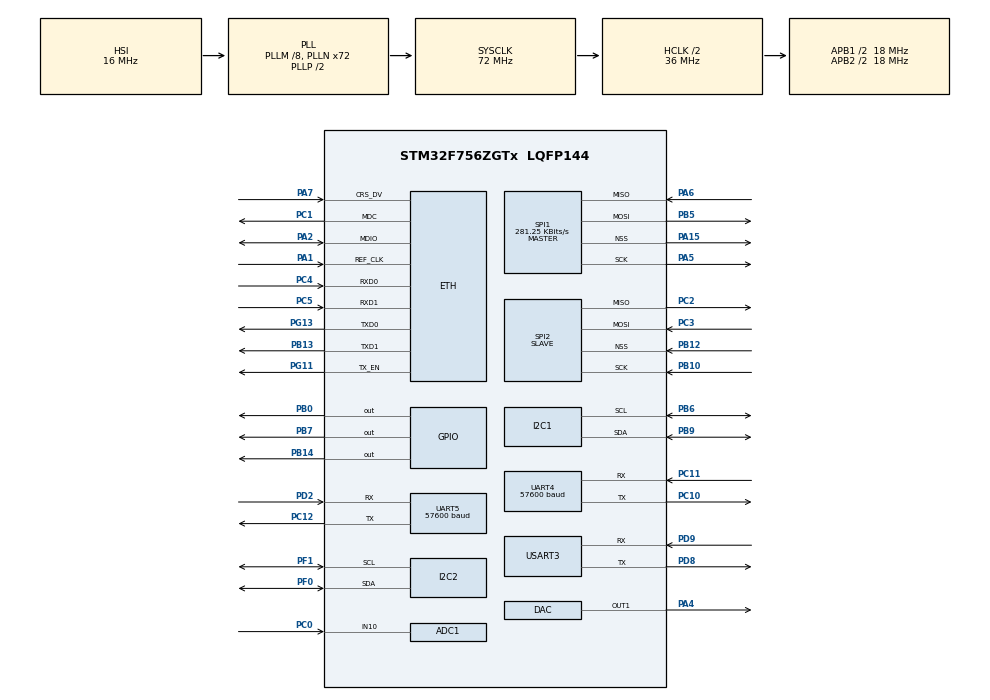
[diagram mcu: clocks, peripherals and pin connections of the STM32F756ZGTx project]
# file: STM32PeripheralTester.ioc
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ADC1.Channel-0\#ChannelRegularConversion=ADC_CHANNEL_10
ADC1.NbrOfConversionFlag=1
ADC1.Rank-0\#ChannelRegularConversion=1
ADC1.SamplingTime-0\#ChannelRegularConversion=ADC_SAMPLETIME_3CYCLES
ADC1.master=1
Dma.I2C1_RX.0.Direction=DMA_PERIPH_TO_MEMORY
Dma.I2C1_RX.0.FIFOMode=DMA_FIFOMODE_DISABLE
Dma.I2C1_RX.0.Instance=DMA1_Stream0
Dma.I2C1_RX.0.MemDataAlignment=DMA_MDATAALIGN_BYTE
Dma.I2C1_RX.0.MemInc=DMA_MINC_ENABLE
Dma.I2C1_RX.0.Mode=DMA_NORMAL
Dma.I2C1_RX.0.PeriphDataAlignment=DMA_PDATAALIGN_BYTE
Dma.I2C1_RX.0.PeriphInc=DMA_PINC_DISABLE
Dma.I2C1_RX.0.Priority=DMA_PRIORITY_LOW
Dma.I2C1_TX.1.Direction=DMA_MEMORY_TO_PERIPH
Dma.I2C1_TX.1.FIFOMode=DMA_FIFOMODE_DISABLE
Dma.I2C1_TX.1.Instance=DMA1_Stream6
Dma.I2C1_TX.1.MemDataAlignment=DMA_MDATAALIGN_BYTE
Dma.I2C1_TX.1.MemInc=DMA_MINC_ENABLE
Dma.I2C1_TX.1.Mode=DMA_NORMAL
Dma.I2C1_TX.1.PeriphDataAlignment=DMA_PDATAALIGN_BYTE
Dma.I2C1_TX.1.PeriphInc=DMA_PINC_DISABLE
Dma.I2C1_TX.1.Priority=DMA_PRIORITY_LOW
Dma.I2C2_RX.2.Direction=DMA_PERIPH_TO_MEMORY
Dma.I2C2_RX.2.FIFOMode=DMA_FIFOMODE_DISABLE
Dma.I2C2_RX.2.Instance=DMA1_Stream2
Dma.I2C2_RX.2.MemDataAlignment=DMA_MDATAALIGN_BYTE
Dma.I2C2_RX.2.MemInc=DMA_MINC_ENABLE
Dma.I2C2_RX.2.Mode=DMA_NORMAL
Dma.I2C2_RX.2.PeriphDataAlignment=DMA_PDATAALIGN_BYTE
Dma.I2C2_RX.2.PeriphInc=DMA_PINC_DISABLE
Dma.I2C2_RX.2.Priority=DMA_PRIORITY_LOW
Dma.I2C2_TX.3.Direction=DMA_MEMORY_TO_PERIPH
Dma.I2C2_TX.3.FIFOMode=DMA_FIFOMODE_DISABLE
Dma.I2C2_TX.3.Instance=DMA1_Stream7
Dma.I2C2_TX.3.MemDataAlignment=DMA_MDATAALIGN_BYTE
Dma.I2C2_TX.3.MemInc=DMA_MINC_ENABLE
Dma.I2C2_TX.3.Mode=DMA_NORMAL
Dma.I2C2_TX.3.PeriphDataAlignment=DMA_PDATAALIGN_BYTE
Dma.I2C2_TX.3.PeriphInc=DMA_PINC_DISABLE
Dma.I2C2_TX.3.Priority=DMA_PRIORITY_LOW
Dma.Request0=I2C1_RX
Dma.Request1=I2C1_TX
Dma.Request2=I2C2_RX
Dma.Request3=I2C2_TX
Dma.Request4=SPI1_RX
Dma.Request5=SPI1_TX
Dma.Request6=SPI2_RX
Dma.Request7=SPI2_TX
Dma.SPI1_RX.4.Direction=DMA_PERIPH_TO_MEMORY
Dma.SPI1_RX.4.FIFOMode=DMA_FIFOMODE_DISABLE
Dma.SPI1_RX.4.Instance=DMA2_Stream0
Dma.SPI1_RX.4.MemDataAlignment=DMA_MDATAALIGN_BYTE
Dma.SPI1_RX.4.MemInc=DMA_MINC_ENABLE
Dma.SPI1_RX.4.Mode=DMA_NORMAL
Dma.SPI1_RX.4.PeriphDataAlignment=DMA_PDATAALIGN_BYTE
Dma.SPI1_RX.4.PeriphInc=DMA_PINC_DISABLE
Dma.SPI1_RX.4.Priority=DMA_PRIORITY_LOW
Dma.SPI1_TX.5.Direction=DMA_MEMORY_TO_PERIPH
Dma.SPI1_TX.5.FIFOMode=DMA_FIFOMODE_DISABLE
Dma.SPI1_TX.5.Instance=DMA2_Stream3
Dma.SPI1_TX.5.MemDataAlignment=DMA_MDATAALIGN_BYTE
Dma.SPI1_TX.5.MemInc=DMA_MINC_ENABLE
Dma.SPI1_TX.5.Mode=DMA_NORMAL
Dma.SPI1_TX.5.PeriphDataAlignment=DMA_PDATAALIGN_BYTE
Dma.SPI1_TX.5.PeriphInc=DMA_PINC_DISABLE
Dma.SPI1_TX.5.Priority=DMA_PRIORITY_LOW
Dma.SPI2_RX.6.Direction=DMA_PERIPH_TO_MEMORY
Dma.SPI2_RX.6.FIFOMode=DMA_FIFOMODE_DISABLE
Dma.SPI2_RX.6.Instance=DMA1_Stream3
Dma.SPI2_RX.6.MemDataAlignment=DMA_MDATAALIGN_BYTE
Dma.SPI2_RX.6.MemInc=DMA_MINC_ENABLE
Dma.SPI2_RX.6.Mode=DMA_NORMAL
Dma.SPI2_RX.6.PeriphDataAlignment=DMA_PDATAALIGN_BYTE
Dma.SPI2_RX.6.PeriphInc=DMA_PINC_DISABLE
Dma.SPI2_RX.6.Priority=DMA_PRIORITY_LOW
Dma.SPI2_TX.7.Direction=DMA_MEMORY_TO_PERIPH
Dma.SPI2_TX.7.FIFOMode=DMA_FIFOMODE_DISABLE
Dma.SPI2_TX.7.Instance=DMA1_Stream4
Dma.SPI2_TX.7.MemDataAlignment=DMA_MDATAALIGN_BYTE
Dma.SPI2_TX.7.MemInc=DMA_MINC_ENABLE
Dma.SPI2_TX.7.Mode=DMA_NORMAL
Dma.SPI2_TX.7.PeriphDataAlignment=DMA_PDATAALIGN_BYTE
Dma.SPI2_TX.7.PeriphInc=DMA_PINC_DISABLE
Dma.SPI2_TX.7.Priority=DMA_PRIORITY_LOW
ETH.MediaInterface=HAL_ETH_RMII_MODE
FREERTOS.Tasks01=defaultTask,0,1024,StartDefaultTask,Default,NULL,Dynamic,NULL,NULL
FREERTOS.configENABLE_FPU=1
FREERTOS.configMINIMAL_STACK_SIZE=1024
FREERTOS.configTOTAL_HEAP_SIZE=65536
FREERTOS.configUSE_NEWLIB_REENTRANT=1
I2C1.Timing=0x00404567
I2C2.OwnAddress=0x22
I2C2.Timing=0x00404567
LWIP.BSP.number=1
LWIP.CMSIS_VERSION-Enabled=1
LWIP.GATEWAY_ADDRESS=192.168.137.001
LWIP.IP_ADDRESS=192.168.137.002
LWIP.LWIP_DHCP=0
LWIP.NETMASK_ADDRESS=255.255.255.000
LWIP.Version=v2.1.2_Cube
LWIP0.BSP.STBoard=false
LWIP0.BSP.api=BSP_COMPONENT_DRIVER
LWIP0.BSP.component=LAN8742
LWIP0.BSP.instance=LAN8742
LWIP0.BSP.name=Driver_PHY
LWIP0.BSP.semaphore=S_LAN8742
LWIP0.BSP.solution=LAN8742
Mcu.Family=STM32F7
Mcu.Name=STM32F756ZGTx
Mcu.Package=LQFP144
NVIC.DMA1_Stream0_IRQn=true\:5\:0\:false\:false\:true\:true\:false\:true\:true
NVIC.DMA1_Stream2_IRQn=true\:5\:0\:false\:false\:true\:true\:false\:true\:true
NVIC.DMA1_Stream3_IRQn=true\:5\:0\:false\:false\:true\:true\:false\:true\:true
NVIC.DMA1_Stream4_IRQn=true\:5\:0\:false\:false\:true\:true\:false\:true\:true
NVIC.DMA1_Stream6_IRQn=true\:5\:0\:false\:false\:true\:true\:false\:true\:true
NVIC.DMA1_Stream7_IRQn=true\:5\:0\:false\:false\:true\:true\:false\:true\:true
NVIC.DMA2_Stream0_IRQn=true\:5\:0\:false\:false\:true\:true\:false\:true\:true
NVIC.DMA2_Stream3_IRQn=true\:5\:0\:false\:false\:true\:true\:false\:true\:true
NVIC.ETH_IRQn=true\:5\:0\:false\:false\:true\:true\:true\:true\:true
NVIC.ETH_WKUP_IRQn=true\:5\:0\:false\:false\:true\:true\:true\:true\:true
NVIC.I2C1_ER_IRQn=true\:5\:0\:false\:false\:true\:true\:true\:true\:true
NVIC.I2C1_EV_IRQn=true\:5\:0\:false\:false\:true\:true\:true\:true\:true
NVIC.I2C2_ER_IRQn=true\:5\:0\:false\:false\:true\:true\:true\:true\:true
NVIC.I2C2_EV_IRQn=true\:5\:0\:false\:false\:true\:true\:true\:true\:true
NVIC.PriorityGroup=NVIC_PRIORITYGROUP_4
NVIC.SPI1_IRQn=true\:5\:0\:false\:false\:true\:true\:true\:true\:true
NVIC.SPI2_IRQn=true\:5\:0\:false\:false\:true\:true\:true\:true\:true
NVIC.TIM6_DAC_IRQn=true\:5\:0\:false\:false\:true\:true\:false\:true\:true
NVIC.TimeBase=TIM6_DAC_IRQn
NVIC.TimeBaseIP=TIM6
NVIC.UART4_IRQn=true\:5\:0\:false\:false\:true\:true\:true\:true\:true
NVIC.UART5_IRQn=true\:5\:0\:false\:false\:true\:true\:true\:true\:true
PA1.Mode=RMII
PA1.Signal=ETH_REF_CLK
PA13.Mode=Serial_Wire
PA13.Signal=SYS_JTMS-SWDIO
PA14.Mode=Serial_Wire
PA14.Signal=SYS_JTCK-SWCLK
PA15.Mode=NSS_Signal_Hard_Output
PA15.Signal=SPI1_NSS
PA2.Mode=RMII
PA2.Signal=ETH_MDIO
PA4.Signal=COMP_DAC1_group
PA5.Mode=Full_Duplex_Master
PA5.Signal=SPI1_SCK
PA6.Mode=Full_Duplex_Master
PA6.Signal=SPI1_MISO
PA7.Mode=RMII
PA7.Signal=ETH_CRS_DV
PB0.Signal=GPIO_Output
PB10.Mode=Full_Duplex_Slave
PB10.Signal=SPI2_SCK
PB12.Mode=NSS_Signal_Hard_Input
PB12.Signal=SPI2_NSS
PB13.Mode=RMII
PB13.Signal=ETH_TXD1
PB14.Signal=GPIO_Output
PB5.Mode=Full_Duplex_Master
PB5.Signal=SPI1_MOSI
PB6.GPIO_Pu=GPIO_PULLUP
PB6.Mode=I2C
PB6.Signal=I2C1_SCL
PB7.Signal=GPIO_Output
PB9.GPIO_Pu=GPIO_PULLUP
PB9.Mode=I2C
PB9.Signal=I2C1_SDA
PC0.Signal=ADCx_IN10
PC1.Mode=RMII
PC1.Signal=ETH_MDC
PC10.Mode=Asynchronous
PC10.Signal=UART4_TX
PC11.Mode=Asynchronous
PC11.Signal=UART4_RX
PC12.Mode=Asynchronous
PC12.Signal=UART5_TX
PC14/OSC32_IN.Mode=LSE-External-Oscillator
PC14/OSC32_IN.Signal=RCC_OSC32_IN
PC15/OSC32_OUT.Mode=LSE-External-Oscillator
PC15/OSC32_OUT.Signal=RCC_OSC32_OUT
PC2.Mode=Full_Duplex_Slave
PC2.Signal=SPI2_MISO
PC3.Mode=Full_Duplex_Slave
PC3.Signal=SPI2_MOSI
PC4.Mode=RMII
PC4.Signal=ETH_RXD0
PC5.Mode=RMII
PC5.Signal=ETH_RXD1
PD2.Mode=Asynchronous
PD2.Signal=UART5_RX
PD8.Mode=Asynchronous
PD8.Signal=USART3_TX
PD9.Mode=Asynchronous
PD9.Signal=USART3_RX
PF0.GPIO_Pu=GPIO_PULLUP
PF0.Mode=I2C
PF0.Signal=I2C2_SDA
PF1.GPIO_Pu=GPIO_PULLUP
PF1.Mode=I2C
PF1.Signal=I2C2_SCL
PG11.Mode=RMII
PG11.Signal=ETH_TX_EN
PG13.Mode=RMII
PG13.Signal=ETH_TXD0
PH0/OSC_IN.Mode=HSE-External-Clock-Source
PH0/OSC_IN.Signal=RCC_OSC_IN
PH1/OSC_OUT.Mode=HSE-External-Clock-Source
PH1/OSC_OUT.Signal=RCC_OSC_OUT
ProjectManager.HeapSize=0x200
ProjectManager.StackSize=0x400
ProjectManager.TargetToolchain=STM32CubeIDE
RCC.AHBCLKDivider=RCC_SYSCLK_DIV2
RCC.AHBFreq_Value=36000000
RCC.APB1CLKDivider=RCC_HCLK_DIV2
RCC.APB1Freq_Value=18000000
RCC.APB1TimFreq_Value=36000000
RCC.APB2CLKDivider=RCC_HCLK_DIV2
RCC.APB2Freq_Value=18000000
RCC.APB2TimFreq_Value=36000000
RCC.CortexFreq_Value=36000000
RCC.HCLKFreq_Value=36000000
RCC.HSE_VALUE=25000000
RCC.HSI_VALUE=16000000
RCC.PLLM=8
RCC.PLLN=72
RCC.SYSCLKFreq_VALUE=72000000
RCC.SYSCLKSource=RCC_SYSCLKSOURCE_PLLCLK
RCC.USBFreq_Value=72000000
RCC.VCOOutputFreq_Value=144000000
SH.ADCx_IN10.0=ADC1_IN10,IN10
SH.COMP_DAC1_group.0=DAC_OUT1,DAC_OUT1
SPI1.BaudRatePrescaler=SPI_BAUDRATEPRESCALER_64
SPI1.CalculateBaudRate=281.25 KBits/s
SPI1.DataSize=SPI_DATASIZE_8BIT
SPI1.Direction=SPI_DIRECTION_2LINES
SPI1.Mode=SPI_MODE_MASTER
SPI1.NSSPMode=SPI_NSS_PULSE_DISABLE
SPI1.VirtualNSS=VM_NSSHARD
SPI1.VirtualType=VM_MASTER
SPI2.DataSize=SPI_DATASIZE_8BIT
SPI2.Direction=SPI_DIRECTION_2LINES
SPI2.Mode=SPI_MODE_SLAVE
SPI2.VirtualNSS=VM_NSSHARD
SPI2.VirtualType=VM_SLAVE
TIM2.Prescaler=35
UART4.BaudRate=57600
UART5.BaudRate=57600
USART3.VirtualMode-Asynchronous=VM_ASYNC
VP_CRC_VS_CRC.Mode=CRC_Activate
VP_FREERTOS_VS_CMSIS_V1.Mode=CMSIS_V1
VP_LWIP_VS_Enabled.Mode=Enabled
VP_SYS_VS_tim6.Mode=TIM6
VP_TIM2_VS_ClockSourceINT.Mode=Internal
board=custom

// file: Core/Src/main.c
/* USER CODE BEGIN Header */
/**
  ******************************************************************************
  * @file           : main.c
  * @brief          : Main program body
  ******************************************************************************
  * @attention
  *
  * Copyright (c) 2026 STMicroelectronics.
  * All rights reserved.
  *
  * This software is licensed under terms that can be found in the LICENSE file
  * in the root directory of this software component.
  * If no LICENSE file comes with this software, it is provided AS-IS.
  *
  ******************************************************************************
  */
/* USER CODE END Header */
#include "main.h"
#include "cmsis_os.h"
#include "adc.h"
#include "crc.h"
#include "dac.h"
#include "dma.h"
#include "i2c.h"
#include "lwip.h"
#include "spi.h"
#include "tim.h"
#include "usart.h"
#include "gpio.h"

/* USER CODE BEGIN Includes */
#include <stdint.h>
/* USER CODE END Includes */

/* USER CODE BEGIN PD */
#define APP_ERROR_DELAY_LOOP_COUNT    500000U
/* USER CODE END PD */

void SystemClock_Config(void);
void MX_FREERTOS_Init(void);

int main(void)
{

  /* MCU Configuration--------------------------------------------------------*/

  /* Reset of all peripherals, Initializes the Flash interface and the Systick. */
  HAL_Init();

  /* Configure the system clock */
  SystemClock_Config();

  /* Initialize all configured peripherals */
  MX_GPIO_Init();
  MX_DMA_Init();
  MX_USART3_UART_Init();
  MX_TIM2_Init();
  MX_UART4_Init();
  MX_UART5_Init();
  MX_CRC_Init();
  MX_I2C1_Init();
  MX_I2C2_Init();
  MX_SPI1_Init();
  MX_SPI2_Init();
  MX_ADC1_Init();
  MX_DAC_Init();

  /* Call init function for freertos objects (in cmsis_os2.c) */
  MX_FREERTOS_Init();

  /* Start scheduler */
  osKernelStart();

  /* We should never get here as control is now taken by the scheduler */

  /* Infinite loop */
  while (1)
  {

  }
}

void SystemClock_Config(void)
{
  RCC_OscInitTypeDef RCC_OscInitStruct = {0};
  RCC_ClkInitTypeDef RCC_ClkInitStruct = {0};

  /** Configure LSE Drive Capability
  */
  HAL_PWR_EnableBkUpAccess();

  /** Configure the main internal regulator output voltage
  */
  __HAL_RCC_PWR_CLK_ENABLE();
  __HAL_PWR_VOLTAGESCALING_CONFIG(PWR_REGULATOR_VOLTAGE_SCALE3);

  /** Initializes the RCC Oscillators according to the specified parameters
  * in the RCC_OscInitTypeDef structure.
  */
  RCC_OscInitStruct.OscillatorType = RCC_OSCILLATORTYPE_HSI;
  RCC_OscInitStruct.HSIState = RCC_HSI_ON;
  RCC_OscInitStruct.HSICalibrationValue = RCC_HSICALIBRATION_DEFAULT;
  RCC_OscInitStruct.PLL.PLLState = RCC_PLL_ON;
  RCC_OscInitStruct.PLL.PLLSource = RCC_PLLSOURCE_HSI;
  RCC_OscInitStruct.PLL.PLLM = 8;
  RCC_OscInitStruct.PLL.PLLN = 72;
  RCC_OscInitStruct.PLL.PLLP = RCC_PLLP_DIV2;
  RCC_OscInitStruct.PLL.PLLQ = 2;
  if (HAL_RCC_OscConfig(&RCC_OscInitStruct) != HAL_OK)
  {
    Error_Handler();
  }

  /** Initializes the CPU, AHB and APB buses clocks
  */
  RCC_ClkInitStruct.ClockType = RCC_CLOCKTYPE_HCLK|RCC_CLOCKTYPE_SYSCLK
                              |RCC_CLOCKTYPE_PCLK1|RCC_CLOCKTYPE_PCLK2;
  RCC_ClkInitStruct.SYSCLKSource = RCC_SYSCLKSOURCE_PLLCLK;
  RCC_ClkInitStruct.AHBCLKDivider = RCC_SYSCLK_DIV2;
  RCC_ClkInitStruct.APB1CLKDivider = RCC_HCLK_DIV2;
  RCC_ClkInitStruct.APB2CLKDivider = RCC_HCLK_DIV2;

  if (HAL_RCC_ClockConfig(&RCC_ClkInitStruct, FLASH_LATENCY_1) != HAL_OK)
  {
    Error_Handler();
  }
}

void HAL_TIM_PeriodElapsedCallback(TIM_HandleTypeDef *htim)
{
  if (htim->Instance == TIM6)
  {
    HAL_IncTick();
  }
}

void Error_Handler(void)
{
  /* USER CODE BEGIN Error_Handler_Debug */
  /* Fatal error handler.
   * Execution stops here after an unrecoverable error.
   * The red LED is toggled continuously to indicate a fatal fault.
   */
  __disable_irq();
  while (1)
  {
	  HAL_GPIO_TogglePin(LD3_GPIO_Port, LD3_Pin);
	  for (volatile uint32_t i = 0U; i < APP_ERROR_DELAY_LOOP_COUNT; i++);
  }
  /* USER CODE END Error_Handler_Debug */
}

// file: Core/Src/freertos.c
/* USER CODE BEGIN Header */
/**
  ******************************************************************************
  * File Name          : freertos.c
  * Description        : Code for freertos applications
  ******************************************************************************
  * @attention
  *
  * Copyright (c) 2026 STMicroelectronics.
  * All rights reserved.
  *
  * This software is licensed under terms that can be found in the LICENSE file
  * in the root directory of this software component.
  * If no LICENSE file comes with this software, it is provided AS-IS.
  *
  ******************************************************************************
  */
/* USER CODE END Header */

#include "FreeRTOS.h"
#include "task.h"
#include "main.h"
#include "cmsis_os.h"

/* USER CODE BEGIN Includes */
#include "app_command_generator.h"
#include "app_command_queue.h"
#include "app_response_queue.h"
#include "app_timer_test.h"
#include "app_uart_test.h"
#include "app_i2c_test.h"
#include "app_spi_test.h"
#include "app_adc_test.h"
#include "app_config.h"
#include "usart.h"
#include "app_net.h"
#include "tim.h"
#include <stdio.h>
/* USER CODE END Includes */

/* USER CODE BEGIN PD */
#define APP_NET_POLL_PERIOD_MS    200U
/* USER CODE END PD */

osThreadId defaultTaskHandle;

void StartDefaultTask(void const * argument);

extern void MX_LWIP_Init(void);
void MX_FREERTOS_Init(void); /* (MISRA C 2004 rule 8.1) */

/* GetIdleTaskMemory prototype (linked to static allocation support) */
void vApplicationGetIdleTaskMemory( StaticTask_t **ppxIdleTaskTCBBuffer, StackType_t **ppxIdleTaskStackBuffer, uint32_t *pulIdleTaskStackSize );

/* USER CODE BEGIN GET_IDLE_TASK_MEMORY */
static StaticTask_t xIdleTaskTCBBuffer;
static StackType_t xIdleStack[configMINIMAL_STACK_SIZE];

void vApplicationGetIdleTaskMemory( StaticTask_t **ppxIdleTaskTCBBuffer, StackType_t **ppxIdleTaskStackBuffer, uint32_t *pulIdleTaskStackSize )
{
  *ppxIdleTaskTCBBuffer = &xIdleTaskTCBBuffer;
  *ppxIdleTaskStackBuffer = &xIdleStack[0];
  *pulIdleTaskStackSize = configMINIMAL_STACK_SIZE;
  /* place for user code */
}
/* USER CODE END GET_IDLE_TASK_MEMORY */

void MX_FREERTOS_Init(void) {

  /* Create the thread(s) */
  /* definition and creation of defaultTask */
  osThreadDef(defaultTask, StartDefaultTask, osPriorityNormal, 0, 1024);
  defaultTaskHandle = osThreadCreate(osThread(defaultTask), NULL);

}

void StartDefaultTask(void const * argument)
{
  /* init code for LWIP */
  MX_LWIP_Init();
  /* USER CODE BEGIN StartDefaultTask */

  /* Initialize application modules. */
  app_response_queue_init();
  app_command_queue_init();
  app_timer_test_init();
  app_uart_test_init();
  app_i2c_test_init();
  app_spi_test_init();
  app_adc_test_init();

  printf("Peripheral test modules initialized\r\n");

  /* Temporary network polling for debugging.
   * Remove before the final release.
   */
  app_net_init();
  printf("Network initialized\r\n");

  printf("Start main loop\r\n");

  for(;;)
  {
	  /* Periodically checks Ethernet link state */
	  app_net_poll();
	  osDelay(APP_NET_POLL_PERIOD_MS);
  }
  /* USER CODE END StartDefaultTask */
}
